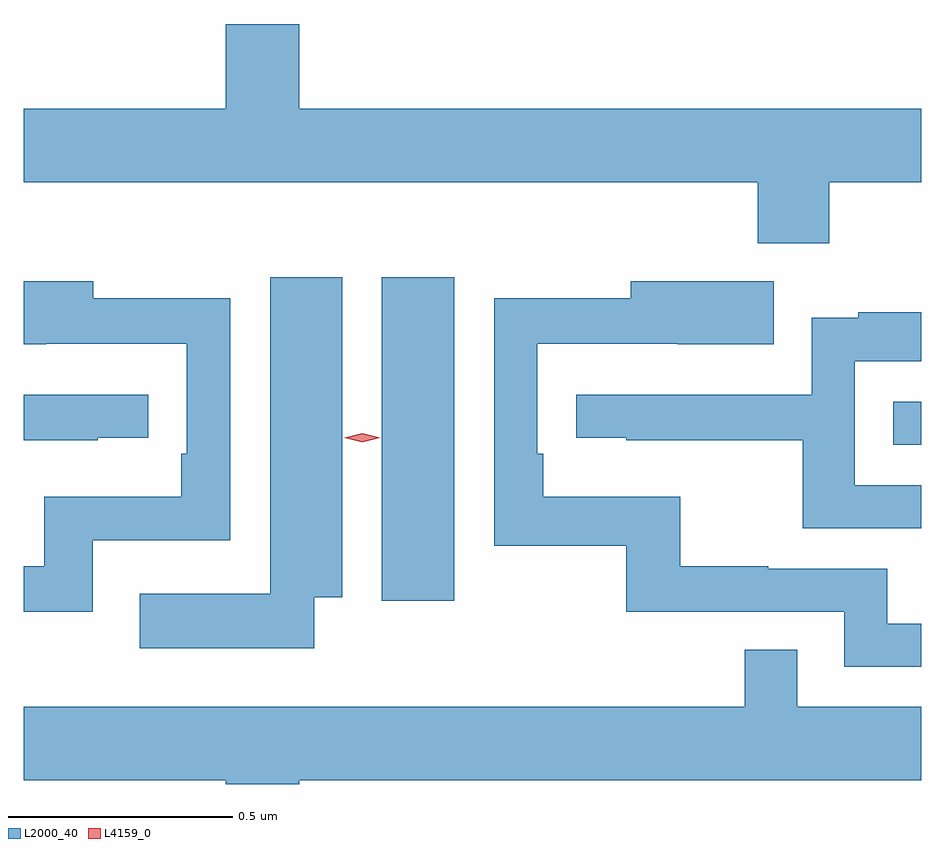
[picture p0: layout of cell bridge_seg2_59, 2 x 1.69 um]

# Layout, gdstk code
import gdstk
lib = gdstk.Library(unit=1e-6, precision=1e-09)
def R(c, l, rs):  # rectangles x0, y0, x1, y1
    for r in rs: c.add(gdstk.rectangle(r[:2], r[2:], *l))
def P(c, l, *ps):  # polygons
    for p in ps: c.add(gdstk.Polygon(p, *l))
L2000_40 = (2000, 40)
L4159_0 = (4159, 0)

bridge_seg2_59 = lib.new_cell('bridge_seg2_59')
R(bridge_seg2_59, L2000_40, [(1088.432,597.42,1088.593,598.141), (1089.571,597.768,1089.634,597.864)])
P(bridge_seg2_59, L2000_40, [(1089.429,598.352),(1089.634,598.352),(1089.634,598.516),(1088.248,598.516),(1088.248,598.705),(1088.084,598.705),(1088.084,598.516),(1087.634,598.516),(1087.634,598.352),(1089.269,598.352),(1089.269,598.217),(1089.429,598.217)],
  [(1088.281,597.428),(1088.344,597.428),(1088.344,598.141),(1088.183,598.141),(1088.183,597.436),(1087.893,597.436),(1087.893,597.314),(1088.281,597.314)],
  [(1087.788,597.555),(1088.094,597.555),(1088.094,598.094),(1087.789,598.094),(1087.789,598.132),(1087.634,598.132),(1087.634,597.992),(1087.685,597.992),(1087.685,597.993),(1087.998,597.993),(1087.998,597.748),(1087.985,597.748),(1087.985,597.652),(1087.68,597.652),(1087.68,597.497),(1087.634,597.497),(1087.634,597.396),(1087.788,597.396)],
  [(1089.634,597.369),(1089.558,597.369),(1089.558,597.492),(1089.293,597.492),(1089.293,597.497),(1089.097,597.497),(1089.097,597.652),(1088.792,597.652),(1088.792,597.748),(1088.778,597.748),(1088.778,597.993),(1089.091,597.993),(1089.091,597.992),(1089.305,597.992),(1089.305,598.132),(1088.987,598.132),(1088.987,598.094),(1088.682,598.094),(1088.682,597.543),(1088.976,597.543),(1088.976,597.396),(1089.462,597.396),(1089.462,597.273),(1089.634,597.273)],
  [(1089.634,597.678),(1089.486,597.678),(1089.486,597.954),(1089.634,597.954),(1089.634,598.063),(1089.493,598.063),(1089.493,598.051),(1089.39,598.051),(1089.39,597.879),(1088.865,597.879),(1088.865,597.783),(1088.977,597.783),(1088.977,597.778),(1089.37,597.778),(1089.37,597.582),(1089.634,597.582)],
  [(1087.799,597.783),(1087.912,597.783),(1087.912,597.879),(1087.634,597.879),(1087.634,597.778),(1087.799,597.778)],
  [(1088.248,597.02),(1089.634,597.02),(1089.634,597.184),(1089.357,597.184),(1089.357,597.311),(1089.241,597.311),(1089.241,597.184),(1087.634,597.184),(1087.634,597.02),(1088.084,597.02),(1088.084,597.012),(1088.248,597.012)])
P(bridge_seg2_59, L4159_0, [(1088.388,597.773),(1088.348,597.783),(1088.348,597.783),(1088.348,597.783),(1088.388,597.793),(1088.428,597.783),(1088.428,597.783),(1088.428,597.783)])

lib.write_gds('bridge_seg2_59.gds')
